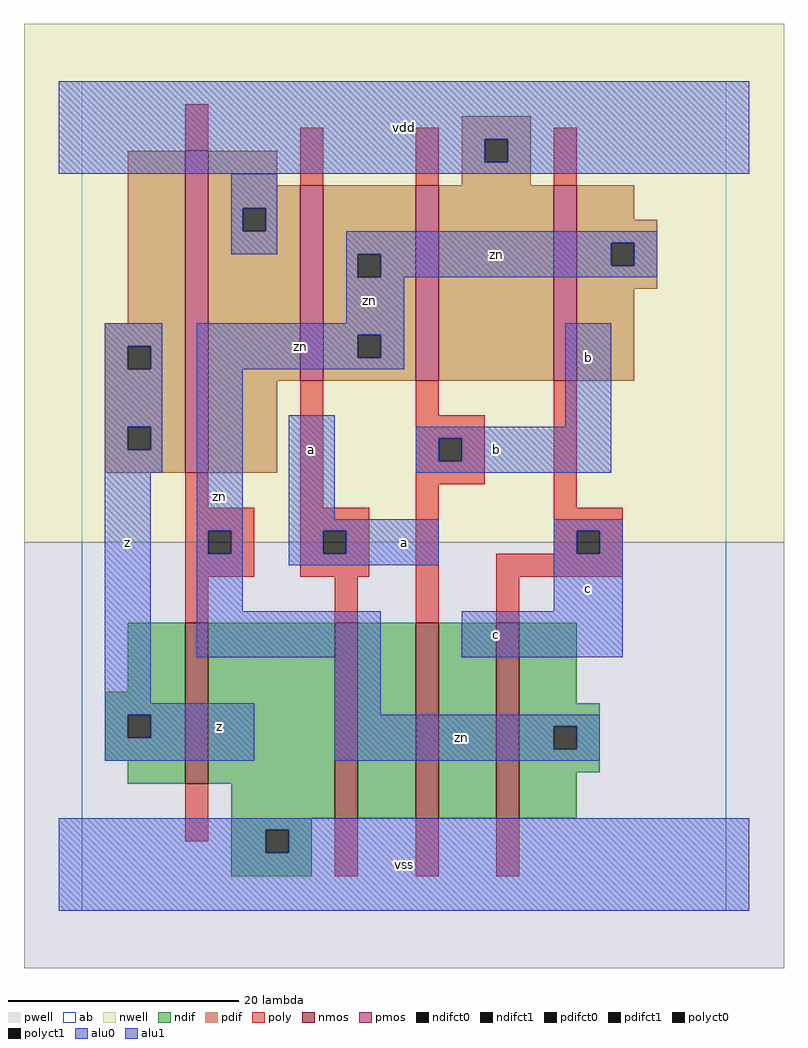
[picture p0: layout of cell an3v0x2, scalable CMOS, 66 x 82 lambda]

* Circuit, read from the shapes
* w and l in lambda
.subckt an3v0x2 a b c vdd vss z zn
M1 vss zn z VSUBS nfet w=14 l=2
M2 n1 a vss VSUBS nfet w=17 l=2
M3 n2 b n1 VSUBS nfet w=17 l=2
M4 zn c n2 VSUBS nfet w=17 l=2
M5 vdd zn z n3 pfet w=28 l=2
M6 zn a vdd n3 pfet w=17 l=2
M7 vdd b zn n3 pfet w=17 l=2
M8 zn c vdd n3 pfet w=17 l=2
.ends

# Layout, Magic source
magic
tech scmos
<< ab >>
rect 0 0 56 72
<< nwell >>
rect -5 32 61 77
<< pwell >>
rect -5 -5 61 32
<< poly >>
rect 9 66 11 70
rect 19 63 21 68
rect 29 63 31 68
rect 41 63 43 68
rect 9 35 11 38
rect 19 35 21 46
rect 29 43 31 46
rect 29 41 35 43
rect 29 39 31 41
rect 33 39 35 41
rect 29 37 35 39
rect 9 33 15 35
rect 9 31 11 33
rect 13 31 15 33
rect 9 29 15 31
rect 19 33 25 35
rect 19 31 21 33
rect 23 31 25 33
rect 19 29 25 31
rect 9 25 11 29
rect 22 25 24 29
rect 29 25 31 37
rect 41 35 43 46
rect 41 33 47 35
rect 41 31 43 33
rect 45 31 47 33
rect 36 29 47 31
rect 36 25 38 29
rect 9 6 11 11
rect 22 3 24 8
rect 29 3 31 8
rect 36 3 38 8
<< ndif >>
rect 4 19 9 25
rect 2 17 9 19
rect 2 15 4 17
rect 6 15 9 17
rect 2 13 9 15
rect 4 11 9 13
rect 11 11 22 25
rect 13 8 22 11
rect 24 8 29 25
rect 31 8 36 25
rect 38 18 43 25
rect 38 16 45 18
rect 38 14 41 16
rect 43 14 45 16
rect 38 12 45 14
rect 38 8 43 12
rect 13 7 20 8
rect 13 5 16 7
rect 18 5 20 7
rect 13 3 20 5
<< pdif >>
rect 4 51 9 66
rect 2 49 9 51
rect 2 47 4 49
rect 6 47 9 49
rect 2 42 9 47
rect 2 40 4 42
rect 6 40 9 42
rect 2 38 9 40
rect 11 63 17 66
rect 33 67 39 69
rect 33 65 35 67
rect 37 65 39 67
rect 33 63 39 65
rect 11 61 19 63
rect 11 59 14 61
rect 16 59 19 61
rect 11 46 19 59
rect 21 57 29 63
rect 21 55 24 57
rect 26 55 29 57
rect 21 50 29 55
rect 21 48 24 50
rect 26 48 29 50
rect 21 46 29 48
rect 31 46 41 63
rect 43 60 48 63
rect 43 58 50 60
rect 43 56 46 58
rect 48 56 50 58
rect 43 54 50 56
rect 43 46 48 54
rect 11 38 17 46
<< alu1 >>
rect -2 67 58 72
rect -2 65 35 67
rect 37 65 58 67
rect -2 64 58 65
rect 2 49 7 51
rect 2 47 4 49
rect 6 47 7 49
rect 2 42 7 47
rect 2 40 4 42
rect 6 40 7 42
rect 2 38 7 40
rect 2 18 6 38
rect 18 34 22 43
rect 42 42 46 51
rect 29 41 46 42
rect 29 39 31 41
rect 33 39 46 41
rect 29 38 46 39
rect 18 33 31 34
rect 18 31 21 33
rect 23 31 31 33
rect 18 30 31 31
rect 41 33 47 34
rect 41 31 43 33
rect 45 31 47 33
rect 41 26 47 31
rect 33 22 47 26
rect 2 17 15 18
rect 2 15 4 17
rect 6 15 15 17
rect 2 13 15 15
rect -2 7 58 8
rect -2 5 16 7
rect 18 5 58 7
rect -2 0 58 5
<< nmos >>
rect 9 11 11 25
rect 22 8 24 25
rect 29 8 31 25
rect 36 8 38 25
<< pmos >>
rect 9 38 11 66
rect 19 46 21 63
rect 29 46 31 63
rect 41 46 43 63
<< polyct0 >>
rect 11 31 13 33
<< polyct1 >>
rect 31 39 33 41
rect 21 31 23 33
rect 43 31 45 33
<< ndifct0 >>
rect 41 14 43 16
<< ndifct1 >>
rect 4 15 6 17
rect 16 5 18 7
<< pdifct0 >>
rect 14 59 16 61
rect 24 55 26 57
rect 24 48 26 50
rect 46 56 48 58
<< pdifct1 >>
rect 4 47 6 49
rect 4 40 6 42
rect 35 65 37 67
<< alu0 >>
rect 13 61 17 64
rect 13 59 14 61
rect 16 59 17 61
rect 13 57 17 59
rect 23 58 50 59
rect 23 57 46 58
rect 23 55 24 57
rect 26 56 46 57
rect 48 56 50 58
rect 26 55 50 56
rect 23 51 28 55
rect 10 50 28 51
rect 10 48 24 50
rect 26 48 28 50
rect 10 47 28 48
rect 10 33 14 47
rect 10 31 11 33
rect 13 31 14 33
rect 10 26 14 31
rect 10 22 26 26
rect 22 17 26 22
rect 22 16 45 17
rect 22 14 41 16
rect 43 14 45 16
rect 22 13 45 14
<< labels >>
rlabel alu0 12 36 12 36 6 zn
rlabel alu0 25 53 25 53 6 zn
rlabel alu0 19 49 19 49 6 zn
rlabel alu0 33 15 33 15 6 zn
rlabel alu0 36 57 36 57 6 zn
rlabel alu1 4 32 4 32 6 z
rlabel alu1 12 16 12 16 6 z
rlabel alu1 20 40 20 40 6 a
rlabel alu1 28 4 28 4 6 vss
rlabel alu1 28 32 28 32 6 a
rlabel alu1 36 24 36 24 6 c
rlabel alu1 36 40 36 40 6 b
rlabel alu1 28 68 28 68 6 vdd
rlabel alu1 44 28 44 28 6 c
rlabel alu1 44 48 44 48 6 b
<< end >>
